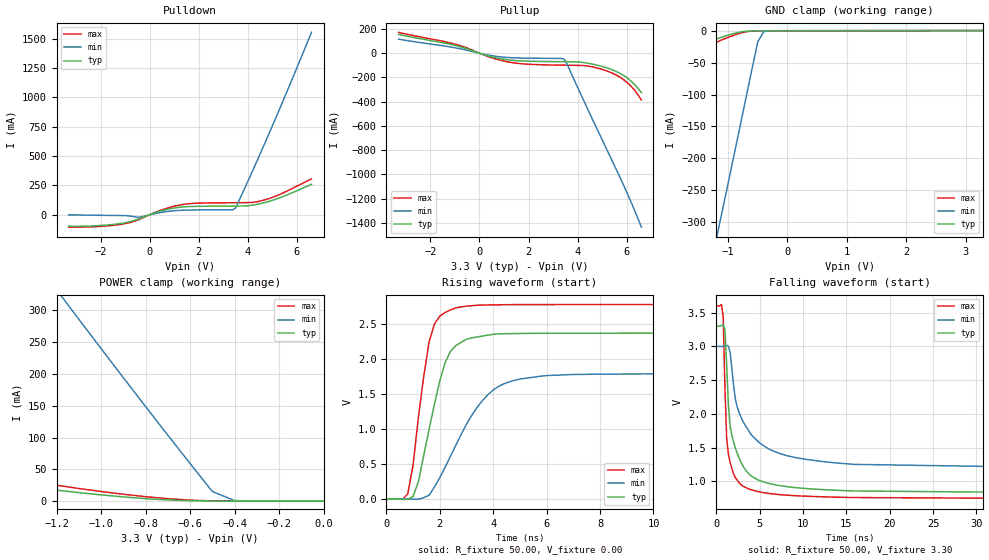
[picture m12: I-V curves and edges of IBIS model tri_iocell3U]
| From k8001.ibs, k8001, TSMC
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|   Model tri_iocell3U
[Model]   tri_iocell3U
Model_type   I/O
Polarity   Non-Inverting
Enable   Active-Low
Vinl =   0.80V
Vinh =   2.00V
Vmeas =  1.50V
C_comp   2.79e-12F   2.91e-12F   2.71e-12F
[Temperature Range]   25   125   0
[Voltage Range]   3.30V   3.00V   3.60V
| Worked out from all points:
|   slope of the pulldown table from 0 to 0.495 V, typ, clamps not added: 14.5 ohm
|   slope of the pullup table from 0 to 0.495 V, typ, clamps not added: 16.8 ohm
|   GND clamp passes 1 mA (typ) near -0.70 V on its own axis
|   POWER clamp passes 1 mA (typ) near -0.63 V on its own axis
|   rising waveform, R_fixture 50.00, V_fixture 0.00: 20-80 % time 840ps typ, 1.58ns min, 571ps max; typ from 0 V to 2.37 V
|   falling waveform, R_fixture 50.00, V_fixture 3.30: 20-80 % time 1.59ns typ, 3.6ns min, 681ps max; typ from 3.3 V to 0.811 V
[POWER_clamp]
| voltage   I(typ)   I(min)   I(max)
-3.3V     141.8mA    1.34A      171.6mA
-2.8V     106.5mA    1.095A     131.4mA
-2.2V     68.79mA    805.3mA    87.66mA
-1.7V     40.91mA    567.2mA    54.38mA
-1.2V     17.38mA    332.7mA    25.04mA
-1.1V     13.41mA    286.3mA    19.91mA
-800mV    3.914mA    148.8mA    7.021mA
-600mV    574.4uA    59.23mA    1.576mA
-500mV    107.2uA    15.15mA    331.7uA
-400mV    35.58uA    884.2uA    51.54uA
0V        113.5nA    122.1nA    127.7nA
[GND_clamp]
| voltage   I(typ)   I(min)   I(max)
-3.3V     -87.34mA   -1.18A     -99.85mA
-2.4V     -57.22mA   -829.6mA   -67.87mA
-1.2V     -13.33mA   -326.4mA   -18.32mA
-1.1V     -10.07mA   -282.7mA   -14.38mA
-800mV    -2.27mA    -150.1mA   -4.168mA
-700mV    -1.002mA   -105.5mA   -1.956mA
-500mV    -322.9uA   -17.56mA   -367.4uA
-400mV    -291.1uA   -1.775mA   -316.8uA
-200mV    -274.2uA   -255.7uA   -297.7uA
3.3V      113.5nA    70.42uA    -23.38uA
[Pullup]
| voltage   I(typ)   I(min)   I(max)
-3.3V     155.9mA    116.7mA    172.8mA
-1V       65.31mA    45.32mA    75.49mA
300mV     -19.02mA   -12.93mA   -23.64mA
1.1V      -52.77mA   -34.3mA    -68.75mA
1.9V      -64.84mA   -40.14mA   -89.64mA
3.3V      -69.79mA   -42.95mA   -98.34mA
3.5V      -70.17mA   -59.53mA   -98.93mA
4.4V      -81.81mA   -456.2mA   -105.2mA
5.4V      -135.1mA   -883.5mA   -162.9mA
5.8V      -174.1mA   -1.056A    -207.2mA
6.1V      -216.5mA   -1.192A    -256.4mA
6.6V      -324.9mA   -1.436A    -385.4mA
[Pulldown]
| voltage   I(typ)   I(min)   I(max)
-3.3V     -97.2mA    -1.057mA   -105.1mA
-2V       -91.17mA   -4.221mA   -98.61mA
-1V       -67.67mA   -6.83mA    -75mA
-400mV    -31.36mA   -19.78mA   -36.42mA
600mV     39.98mA    24.54mA    48.89mA
1.4V      67.82mA    39.27mA    89.06mA
3.4V      74.32mA    43.35mA    102.8mA
3.5V      74.44mA    56.86mA    103mA
4.2V      82.16mA    374.9mA    105.9mA
4.8V      110.2mA    658.7mA    133.6mA
5.4V      152.4mA    950.5mA    182.3mA
6.6V      259.7mA    1.554A     305.3mA
[Ramp]
| variable   typ   min   max
dV/dt_r   0.01/1.80e-09   0.01/4.58e-10   0.01/5.20e-10
dV/dt_f   1.50/1.55e-09   1.11/3.52e-09   1.73/6.45e-10
R_load = 50.00
[Rising Waveform]
R_fixture = 50.00
V_fixture = 0.00
V_fixture_min = 0.00
V_fixture_max = 0.00
| time   V(typ)   V(min)   V(max)
0s        2.572uV    2.343uV    2.803uV
800ps     -2.935mV   326.7uV    73.19mV
1ns       37.73mV    -2.876mV   491.3mV
1.2ns     251.2mV    -3.054mV   1.177V
1.6ns     1.001V     55.61mV    2.252V
1.8ns     1.36V      173.5mV    2.506V
2.4ns     2.113V     612.6mV    2.705V
3.6ns     2.332V     1.41V      2.775V
5ns       2.369V     1.717V     2.782V
16ns      2.373V     1.79V      2.783V
[Falling Waveform]
R_fixture = 50.00
V_fixture = 3.30
V_fixture_min = 3.00
V_fixture_max = 3.60
| time   V(typ)   V(min)   V(max)
0s        3.3V       3V         3.6V
800ps     3.319V     3V         3.441V
1ns       3.253V     3.013V     2.377V
1.2ns     2.724V     3.016V     1.639V
1.4ns     2.127V     3.006V     1.401V
2.4ns     1.424V     2.111V     1.022V
3.8ns     1.109V     1.738V     885.3mV
7.2ns     940mV      1.419V     805.5mV
14.8ns    863.4mV    1.263V     763.7mV
60ns      810.5mV    1.165V     734.2mV
